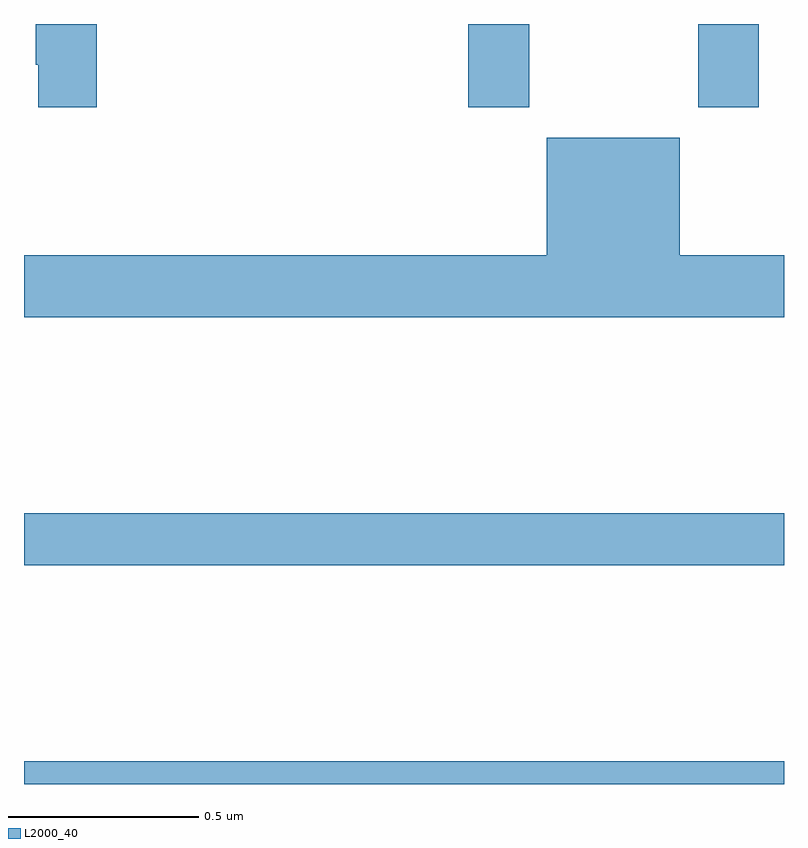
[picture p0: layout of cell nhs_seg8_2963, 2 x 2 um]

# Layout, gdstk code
import gdstk
lib = gdstk.Library(unit=1e-6, precision=1e-09)
def R(c, l, rs):  # rectangles x0, y0, x1, y1
    for r in rs: c.add(gdstk.rectangle(r[:2], r[2:], *l))
def P(c, l, *ps):  # polygons
    for p in ps: c.add(gdstk.Polygon(p, *l))
L2000_40 = (2000, 40)

nhs_seg8_2963 = lib.new_cell('nhs_seg8_2963')
R(nhs_seg8_2963, L2000_40, [(150,1153.9,152,1153.96), (150,1154.476,152,1154.612), (151.169,1155.681,151.329,1155.9), (151.774,1155.681,151.934,1155.9)])
P(nhs_seg8_2963, L2000_40, [(150.191,1155.9),(150.031,1155.9),(150.031,1155.793),(150.037,1155.793),(150.037,1155.681),(150.191,1155.681)],
  [(152,1155.292),(151.726,1155.292),(151.726,1155.601),(151.376,1155.601),(151.376,1155.292),(150,1155.292),(150,1155.128),(152,1155.128)])

lib.write_gds('nhs_seg8_2963.gds')
